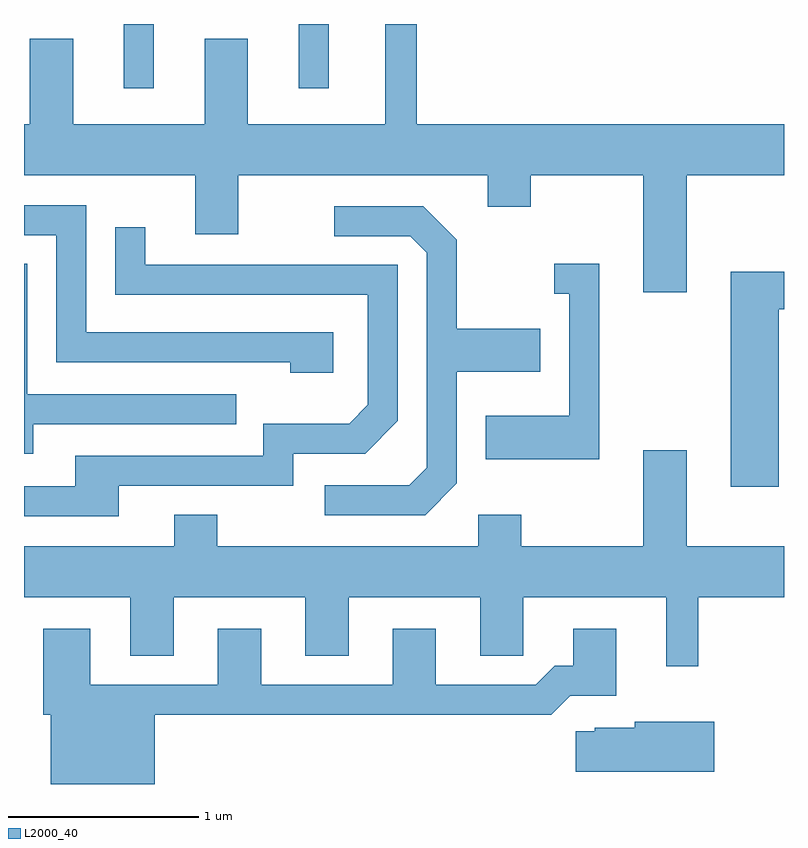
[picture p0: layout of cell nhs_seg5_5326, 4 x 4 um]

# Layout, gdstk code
import gdstk
lib = gdstk.Library(unit=1e-6, precision=1e-09)
def R(c, l, rs):  # rectangles x0, y0, x1, y1
    for r in rs: c.add(gdstk.rectangle(r[:2], r[2:], *l))
def P(c, l, *ps):  # polygons
    for p in ps: c.add(gdstk.Polygon(p, *l))
L2000_40 = (2000, 40)

nhs_seg5_5326 = lib.new_cell('nhs_seg5_5326')
R(nhs_seg5_5326, L2000_40, [(344.136,1421.733,344.294,1422.072), (345.056,1421.733,345.214,1422.072)])
P(nhs_seg5_5326, L2000_40, [(347.099,1421.276),(347.611,1421.276),(347.611,1421.544),(345.679,1421.544),(345.679,1422.072),(345.511,1422.072),(345.511,1421.544),(344.789,1421.544),(344.789,1421.994),(344.561,1421.994),(344.561,1421.544),(343.869,1421.544),(343.869,1421.994),(343.641,1421.994),(343.641,1421.544),(343.611,1421.544),(343.611,1421.276),(344.511,1421.276),(344.511,1420.966),(344.739,1420.966),(344.739,1421.276),(346.051,1421.276),(346.051,1421.111),(346.279,1421.111),(346.279,1421.276),(346.871,1421.276),(346.871,1420.661),(347.099,1420.661)],
  [(345.239,1420.449),(343.939,1420.449),(343.939,1421.119),(343.611,1421.119),(343.611,1420.961),(343.781,1420.961),(343.781,1420.291),(345.011,1420.291),(345.011,1420.236),(345.239,1420.236)],
  [(345.889,1419.654),(345.889,1420.241),(346.329,1420.241),(346.329,1420.469),(345.889,1420.469),(345.889,1420.937),(345.712,1421.114),(345.243,1421.114),(345.243,1420.956),(345.644,1420.956),(345.731,1420.869),(345.731,1419.737),(345.639,1419.644),(345.193,1419.644),(345.193,1419.486),(345.722,1419.486)],
  [(344.109,1419.641),(345.029,1419.641),(345.029,1419.811),(345.407,1419.811),(345.579,1419.984),(345.579,1420.804),(344.249,1420.804),(344.249,1421.003),(344.091,1421.003),(344.091,1420.646),(345.421,1420.646),(345.421,1420.067),(345.324,1419.969),(344.871,1419.969),(344.871,1419.799),(343.881,1419.799),(343.881,1419.639),(343.611,1419.639),(343.611,1419.481),(344.109,1419.481)],
  [(346.639,1420.809),(346.403,1420.809),(346.403,1420.651),(346.481,1420.651),(346.481,1420.009),(346.041,1420.009),(346.041,1419.781),(346.639,1419.781)],
  [(343.659,1419.966),(344.728,1419.966),(344.728,1420.124),(343.629,1420.124),(343.629,1420.809),(343.611,1420.809),(343.611,1419.811),(343.659,1419.811)],
  [(347.584,1420.571),(347.611,1420.571),(347.611,1420.769),(347.331,1420.769),(347.331,1419.636),(347.584,1419.636)],
  [(347.159,1419.056),(347.611,1419.056),(347.611,1419.324),(347.099,1419.324),(347.099,1419.829),(346.871,1419.829),(346.871,1419.324),(346.229,1419.324),(346.229,1419.489),(346.001,1419.489),(346.001,1419.324),(344.629,1419.324),(344.629,1419.489),(344.401,1419.489),(344.401,1419.324),(343.611,1419.324),(343.611,1419.056),(344.171,1419.056),(344.171,1418.746),(344.399,1418.746),(344.399,1419.056),(345.091,1419.056),(345.091,1418.746),(345.319,1418.746),(345.319,1419.056),(346.011,1419.056),(346.011,1418.746),(346.239,1418.746),(346.239,1419.056),(346.991,1419.056),(346.991,1418.693),(347.159,1418.693)],
  [(344.299,1418.436),(346.387,1418.436),(346.487,1418.536),(346.729,1418.536),(346.729,1418.889),(346.501,1418.889),(346.501,1418.694),(346.404,1418.694),(346.304,1418.594),(345.779,1418.594),(345.779,1418.889),(345.551,1418.889),(345.551,1418.594),(344.859,1418.594),(344.859,1418.889),(344.631,1418.889),(344.631,1418.594),(343.959,1418.594),(343.959,1418.889),(343.711,1418.889),(343.711,1418.436),(343.751,1418.436),(343.751,1418.072),(344.299,1418.072)],
  [(347.244,1418.399),(346.826,1418.399),(346.826,1418.369),(346.616,1418.369),(346.616,1418.349),(346.516,1418.349),(346.516,1418.136),(347.244,1418.136)])

lib.write_gds('nhs_seg5_5326.gds')
